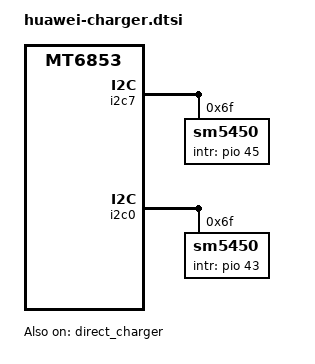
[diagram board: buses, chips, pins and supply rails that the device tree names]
#include "../huawei_charger/mt6853_chl_40w_huawei_charger.dtsi"
/* 2*sm5450 */

&pio {
	sm5450_main_irq_pins_default: sm5450_main_irq_pins_default {
		pins_cmd_dat {
			pinmux = <PINMUX_GPIO45__FUNC_GPIO45>;
			slew-rate = <0>;
			bias-pull-up;
		};
	};
	sm5450_aux_irq_pins_default: sm5450_aux_irq_pins_default {
		pins_cmd_dat {
			pinmux = <PINMUX_GPIO43__FUNC_GPIO43>;
			slew-rate = <0>;
			bias-pull-up;
		};
	};
};

&i2c7 {
	sm5450@6F {
		compatible = "sm5450";
		reg = <0x6F>;
		pinctrl-names = "default";
		pinctrl-0 = <&sm5450_main_irq_pins_default>;
		intr_gpio_num = <45>; /* direct defined GPIO num */
		intr_gpio = <&pio 45 0>;
		adc_channel_vbat_sys = <14>;
		sense_r_config = <50>;
		sense_r_actual = <20>;
		fcp_support = <1>;
		scp_support = <1>;
		lvc_ibat_regulator = <12200>;
		lvc_vbat_regulator = <4500>;
		lvc_vout_regulator = <4550>;
		lvc_ibus_regulator = <5600>;
		sc_ibat_regulator = <12200>;
		sc_vbat_regulator = <4500>;
		sc_vout_regulator = <4550>;
		sc_ibus_regulator = <5600>;
		lvc_vusb2vbus_drop_en = <1>;
		sc_vusb2vbus_drop_en = <1>;
		bat_comp = <30>;
		vclamp = <90>;
		r_coul_mohm = <5>;
		switching_frequency = <675>;
		status = "ok";
	};
};

&i2c0 {
	sm5450@6F {
		compatible = "sm5450";
		reg = <0x6F>;
		pinctrl-names = "default";
		pinctrl-0 = <&sm5450_aux_irq_pins_default>;
		intr_gpio_num = <43>; /* direct defined GPIO num */
		intr_gpio = <&pio 43 0>;
		adc_channel_vbat_sys = <14>;
		sense_r_config = <50>;
		sense_r_actual = <20>;
		fcp_support = <0>;
		scp_support = <0>;
		lvc_ibat_regulator = <12200>;
		lvc_vbat_regulator = <4500>;
		lvc_vout_regulator = <4550>;
		lvc_ibus_regulator = <5600>;
		sc_ibat_regulator = <12200>;
		sc_vbat_regulator = <4500>;
		sc_vout_regulator = <4550>;
		sc_ibus_regulator = <5600>;
		lvc_vusb2vbus_drop_en = <1>;
		sc_vusb2vbus_drop_en = <1>;
		bat_comp = <30>;
		vclamp = <90>;
		r_coul_mohm = <5>;
		ic_role = <1>;
		switching_frequency = <675>;
		status = "ok";
	};
};

&direct_charger {
	volt_para =
		"4250", "5200", "4800",
		"4350", "4800", "2800",
		"4450", "2800", "1200";
	temp_para =
		"-32767", "10", "0",
		"10", "45", "5200",
		"45", "32767", "0";
	status = "ok";
};

&direct_charger_sc {
	support_multi_ic = <1>;
	rt_test_para =
		/* first:sc second:mainsc third:auxsc */
		"3000", "105",
		"3000", "105",
		"3000", "105";
};
